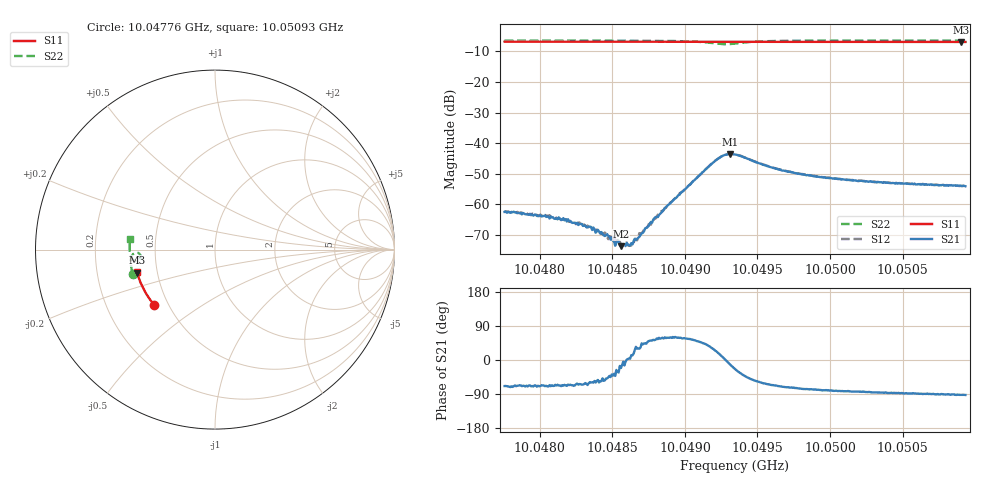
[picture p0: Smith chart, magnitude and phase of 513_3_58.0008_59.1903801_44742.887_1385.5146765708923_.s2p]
#  HZ  S  RI  R  50.00
! Rohde & Schwarz Vector Network Analyzer
! Rohde-Schwarz,ZNB20-2Port,1311601062101988,3.16
! Created: UTC 3/21/2024, 1:13:17 AM
! freq[Hz]  re:S11  im:S11  re:S21  im:S21  re:S12  im:S12  re:S22  im:S22
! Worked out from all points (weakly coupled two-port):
!   401 points, 10.04776 GHz to 10.05093 GHz, reference 50 ohm
!   highest |S21| = -43.58 dB at 10.04931 GHz (marker M1); lowest = -73.8 dB at 10.04856 GHz (marker M2)
!   lowest |S11| = -6.9 dB at 10.0509 GHz (marker M3), VSWR 2.65, Z = 19.2 - j6.17 ohm
!   |S11| at or under -10 dB: nowhere
!   |S22| runs from -7.6 to -6.4 dB; largest |S21 - S12| = 0.00047
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1.0047757e10  -0.338 -0.3085  0.00027 -0.000695  0.000314 -0.000694  -0.4592 -0.1341
1.0048051e10  -0.3505 -0.2934  0.000218 -0.000581  0.000276 -0.000586  -0.4638 -0.1141
1.0048178e10  -0.3555 -0.2869  0.000221 -0.000521  0.000249 -0.000511  -0.4657 -0.1052
1.0048289e10  -0.3599 -0.281  0.000198 -0.00043  0.000233 -0.000425  -0.4668 -0.0973
1.0048361e10  -0.3627 -0.2772  0.000195 -0.000322  0.000222 -0.000337  -0.4676 -0.0919
1.004848e10  -0.3672 -0.2708  0.000217 -0.000195  0.00022 -0.000202  -0.4687 -0.083
1.0048496e10  -0.3678 -0.2698  0.000224 -0.000176  0.000202 -0.000158  -0.469 -0.0816
1.0048512e10  -0.3685 -0.2692  0.000196 -0.000145  0.000233 -0.000169  -0.4688 -0.0805
1.0048559e10  -0.3702 -0.2664  0.000191 -7.41e-05  0.000197 -8.96e-05  -0.4691 -0.0767
1.0048631e10  -0.3728 -0.2626  0.000223 5.09e-05  0.000207 3.54e-05  -0.4695 -0.0709
1.0048781e10  -0.3782 -0.2541  0.000331 0.000445  0.000297 0.000447  -0.4692 -0.0576
1.0048821e10  -0.3795 -0.252  0.000347 0.000566  0.000344 0.000594  -0.4689 -0.0538
1.0048877e10  -0.3815 -0.2489  0.000482 0.000794  0.000448 0.000821  -0.4679 -0.048
1.0049194e10  -0.3915 -0.2306  0.00418 0.00234  0.00403 0.00265  -0.4317 -0.0175
1.0049258e10  -0.3933 -0.2272  0.00607 0.000966  0.00601 0.00129  -0.4157 -0.0298
1.0049313e10  -0.3951 -0.224  0.00647 -0.00144  0.00657 -0.00103  -0.4152 -0.0496
1.0049345e10  -0.396 -0.2223  0.00594 -0.0026  0.00617 -0.00224  -0.4219 -0.0585
1.0049655e10  -0.4056 -0.2045  0.00129 -0.00344  0.00149 -0.00338  -0.4685 -0.0395
1.0049877e10  -0.4116 -0.1912  0.000641 -0.00284  0.000787 -0.00281  -0.4739 -0.0183
1.0050409e10  -0.4242 -0.1587  0.000118 -0.00222  0.000257 -0.0022  -0.4755 0.023
1.0050901e10  -0.4337 -0.1278  -6.94e-05 -0.002  4.56e-05 -0.00199  -0.4726 0.0571
1.0050932e10  -0.4344 -0.1258  -7.76e-05 -0.00196  2.28e-05 -0.00198  -0.4722 0.0592
